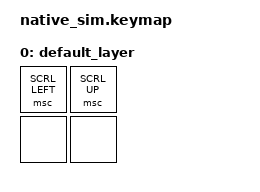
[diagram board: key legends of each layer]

#include <dt-bindings/zmk/input_transform.h>
#include <zephyr/dt-bindings/input/input-event-codes.h>

#include <behaviors.dtsi>
#include <input/processors.dtsi>
#include <dt-bindings/zmk/keys.h>
#include <dt-bindings/zmk/input_mock.h>
#include <dt-bindings/zmk/pointing.h>

&msc_input_listener {
    input-processors = <&zip_scroll_scaler 6 2>;
};

/ {
    keymap {
        compatible = "zmk,keymap";

        default_layer {
            bindings = <
                &msc SCRL_LEFT &msc SCRL_UP
                &none &none
            >;
        };
    };
};


&mock_input {
    events = <
        ZMK_INPUT_MOCK_PRESS(0,0,10)
        ZMK_INPUT_MOCK_PRESS(0,1,500)
        ZMK_INPUT_MOCK_RELEASE(0,0,10)
        ZMK_INPUT_MOCK_RELEASE(0,1,10)
    >;
};
